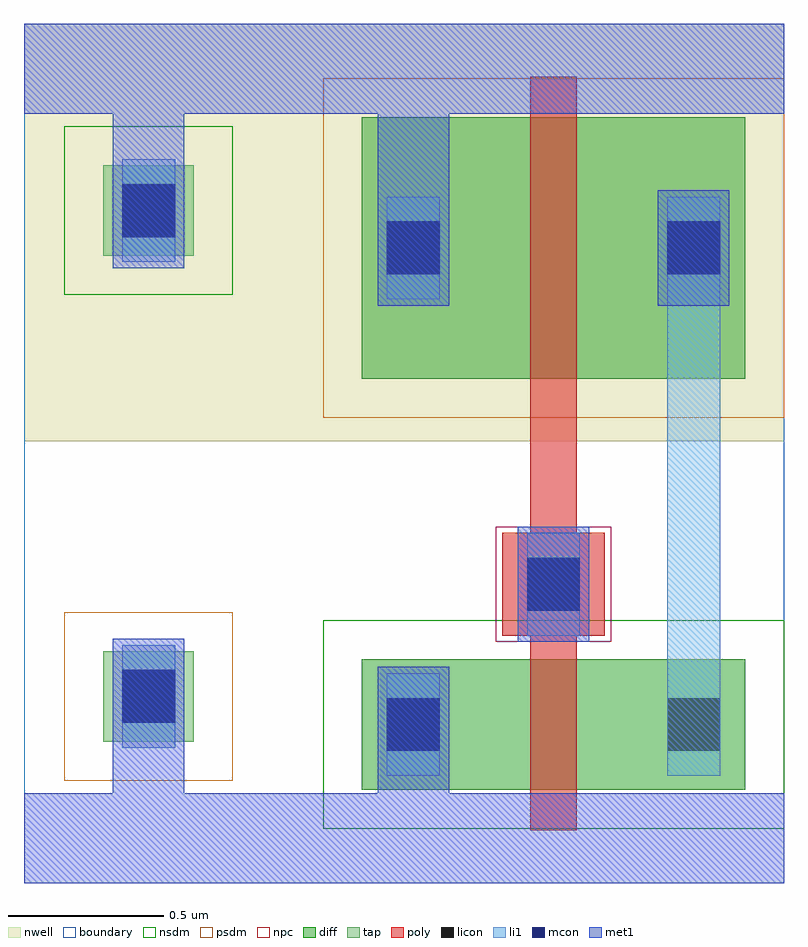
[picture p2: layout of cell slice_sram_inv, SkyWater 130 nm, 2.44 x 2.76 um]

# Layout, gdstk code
import gdstk
lib = gdstk.Library(unit=1e-6, precision=1e-09)
def R(c, l, rs):  # rectangles x0, y0, x1, y1
    for r in rs: c.add(gdstk.rectangle(r[:2], r[2:], *l))
nwell = (64, 20)
diff = (65, 20)
tap = (65, 44)
poly = (66, 20)
licon = (66, 44)
li1 = (67, 20)
mcon = (67, 44)
met1 = (68, 20)
nsdm = (93, 44)
psdm = (94, 20)
npc = (95, 20)
boundary = (235, 4)

slice_sram_inv = lib.new_cell('slice_sram_inv')
R(slice_sram_inv, nwell, [(0,1.42,2.44,2.76)])
R(slice_sram_inv, diff, [(1.085,0.3,2.315,0.72), (1.085,1.62,2.315,2.46)])
R(slice_sram_inv, tap, [(0.255,0.455,0.545,0.745), (0.255,2.015,0.545,2.305)])
R(slice_sram_inv, poly, [(1.625,0.17,1.775,2.59), (1.535,0.795,1.865,1.125), (1.535,0.795,1.865,1.125)])
R(slice_sram_inv, licon, [(1.165,0.425,1.335,0.595), (2.065,0.425,2.235,0.595), (0.315,0.515,0.485,0.685), (1.615,0.875,1.785,1.045), (1.165,1.955,1.335,2.125), (2.065,1.955,2.235,2.125), (0.315,2.075,0.485,2.245)])
R(slice_sram_inv, li1, [(1.165,0.345,1.335,0.675), (2.065,0.345,2.235,0.675), (0.315,0.435,0.485,0.765), (2.065,0.51,2.235,2.04), (1.615,0.795,1.785,1.125), (1.165,1.875,1.335,2.205), (2.065,1.875,2.235,2.205), (0.315,1.995,0.485,2.325)])
R(slice_sram_inv, mcon, [(1.165,0.425,1.335,0.595), (0.315,0.515,0.485,0.685), (1.615,0.875,1.785,1.045), (1.165,1.955,1.335,2.125), (2.065,1.955,2.235,2.125), (0.315,2.075,0.485,2.245)])
R(slice_sram_inv, met1, [(0,0,2.44,0.29), (0.285,0.145,0.515,0.6), (1.135,0.145,1.365,0.695), (0.285,0.415,0.515,0.785), (1.585,0.775,1.815,1.145), (1.135,1.855,1.365,2.615), (2.035,1.855,2.265,2.225), (0.285,1.975,0.515,2.345), (0.285,2.16,0.515,2.615), (0,2.47,2.44,2.76)])
R(slice_sram_inv, nsdm, [(0.96,0.175,2.44,0.845), (0.13,1.89,0.67,2.43)])
R(slice_sram_inv, psdm, [(0.13,0.33,0.67,0.87), (0.96,1.495,2.44,2.585)])
R(slice_sram_inv, npc, [(1.515,0.775,1.885,1.145)])
R(slice_sram_inv, boundary, [(0,0,2.44,2.76)])

lib.write_gds('slice_sram_inv.gds')
